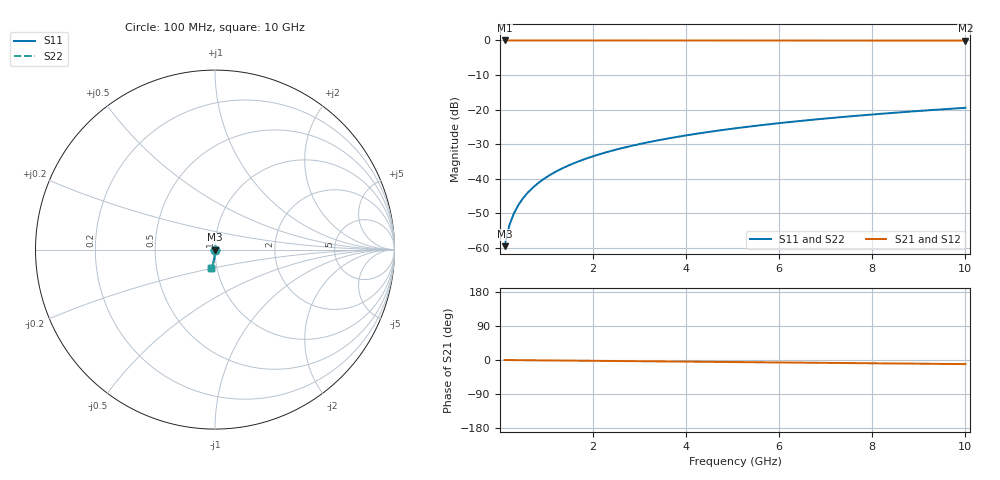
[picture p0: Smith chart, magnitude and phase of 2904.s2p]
# Hz S RI R 50.00
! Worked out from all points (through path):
!   100 points, 100 MHz to 10 GHz, reference 50 ohm
!   highest |S21| = 0.00 dB at 100 MHz (marker M1); lowest = -0.1 dB at 10 GHz (marker M2)
!   group delay of S21, straight-line fit = 3 ps
!   lowest |S11| = -59.5 dB at 100 MHz (marker M3), VSWR 1.00, Z = 50 - j0.106 ohm
!   |S11| at or under -10 dB: start of sweep to end of sweep
!   |S22| runs from -59.5 to -19.5 dB; largest |S21 - S12| = 0
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1e8  0.000122 -0.00106  0.9999 -0.00187  0.9999 -0.00187  0.000122 -0.00106
2e8  0.000116 -0.00211  0.9999 -0.00373  0.9999 -0.00373  0.000116 -0.00211
3e8  0.000105 -0.00317  0.9998 -0.0056  0.9998 -0.0056  0.000105 -0.00317
4e8  9.06e-05 -0.00423  0.9998 -0.00746  0.9998 -0.00746  9.06e-05 -0.00423
5e8  7.19e-05 -0.00529  0.9998 -0.00933  0.9998 -0.00933  7.19e-05 -0.00529
6e8  4.92e-05 -0.00634  0.9998 -0.0112  0.9998 -0.0112  4.92e-05 -0.00634
7e8  2.25e-05 -0.0074  0.9997 -0.0131  0.9997 -0.0131  2.25e-05 -0.0074
8e8  -8.19e-06 -0.00846  0.9997 -0.0149  0.9997 -0.0149  -8.19e-06 -0.00846
9e8  -4.29e-05 -0.00952  0.9997 -0.0168  0.9997 -0.0168  -4.29e-05 -0.00952
1.1e9  -0.000124 -0.0116  0.9996 -0.0205  0.9996 -0.0205  -0.000124 -0.0116
1.4e9  -0.000276 -0.0148  0.9994 -0.0261  0.9994 -0.0261  -0.000276 -0.0148
1.8e9  -0.000534 -0.019  0.9991 -0.0336  0.9991 -0.0336  -0.000534 -0.019
2.1e9  -0.00077 -0.0222  0.9988 -0.0392  0.9988 -0.0392  -0.00077 -0.0222
2.5e9  -0.00114 -0.0265  0.9984 -0.0467  0.9984 -0.0467  -0.00114 -0.0265
2.9e9  -0.00157 -0.0307  0.9979 -0.0542  0.9979 -0.0542  -0.00157 -0.0307
3.4e9  -0.00221 -0.036  0.9971 -0.0636  0.9971 -0.0636  -0.00221 -0.036
4.2e9  -0.00343 -0.0444  0.9957 -0.0785  0.9957 -0.0785  -0.00343 -0.0444
5.1e9  -0.00511 -0.0539  0.9938 -0.0954  0.9938 -0.0954  -0.00511 -0.0539
5.9e9  -0.00688 -0.0623  0.9917 -0.1104  0.9917 -0.1104  -0.00688 -0.0623
6.7e9  -0.00891 -0.0707  0.9893 -0.1253  0.9893 -0.1253  -0.00891 -0.0707
8.4e9  -0.0141 -0.0882  0.9833 -0.1569  0.9833 -0.1569  -0.0141 -0.0882
1e10  -0.0199 -0.1044  0.9764 -0.1865  0.9764 -0.1865  -0.0199 -0.1044
